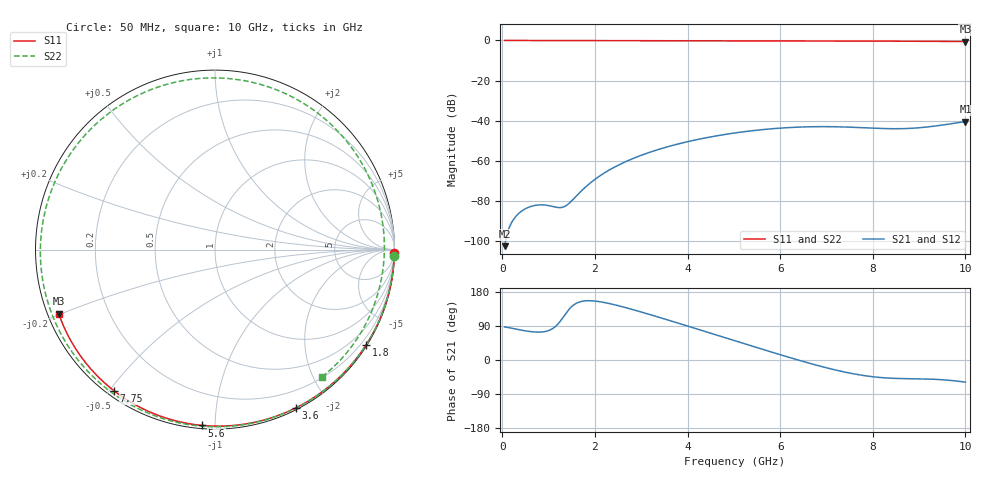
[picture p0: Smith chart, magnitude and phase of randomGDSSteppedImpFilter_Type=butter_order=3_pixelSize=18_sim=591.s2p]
! freq	dB(S11)	phase(S11)	dB(S12)	phase(S12)
!  dB(S21)	phase(S21)	dB(S22)	phase(S22)
!S-par simulation data
#  GHz  S  DB  R 50
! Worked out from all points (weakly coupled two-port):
!   200 points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, 50 MHz to 10 GHz, reference 50 ohm
!   highest |S21| = -40.41 dB at 10 GHz (marker M1); lowest = -102.5 dB at 50 MHz (marker M2)
!   lowest |S11| = -0.5 dB at 10 GHz (marker M3), VSWR 32.86, Z = 1.58 - j9.83 ohm
!   |S11| at or under -10 dB: nowhere
!   |S22| runs from -0.7 to 0.0 dB; largest |S21 - S12| = 0
!   S11 on the Smith chart (normalised r, x): 50 MHz: open; 1.8 GHz: 0.03, -3.45; 3.6 GHz: 0.02, -1.64; 5.6 GHz: 0.02, -0.93; 7.75 GHz: 0.02, -0.51; 10 GHz: 0.03, -0.20
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0.05  -0.00 -0.9  -102.46 87.4  -102.46 87.4  -0.01 -2.1
0.7  -0.01 -12.7  -82.19 73.9  -82.19 73.9  -0.03 -29.0
1.5  -0.03 -27.0  -79.85 141.2  -79.85 141.2  -0.08 -61.1
1.75  -0.04 -31.4  -74.01 155.5  -74.01 155.5  -0.09 -70.9
1.8  -0.04 -32.3  -72.96 156.2  -72.96 156.2  -0.09 -72.9
2.15  -0.05 -38.4  -66.78 152.9  -66.78 152.9  -0.11 -86.3
2.55  -0.06 -45.3  -61.61 141.9  -61.61 141.9  -0.12 -101.4
2.95  -0.07 -52.1  -57.63 128.4  -57.63 128.4  -0.14 -116.3
3.4  -0.08 -59.6  -54.09 112.1  -54.09 112.1  -0.16 -132.9
3.6  -0.08 -62.9  -52.76 104.7  -52.76 104.7  -0.17 -140.3
4.35  -0.11 -75.0  -48.70 76.4  -48.70 76.4  -0.22 -168.2
5.05  -0.13 -85.9  -45.98 49.8  -45.98 49.8  -0.26 164.8
5.6  -0.16 -94.3  -44.45 28.9  -44.45 28.9  -0.30 142.3
6.2  -0.19 -103.2  -43.38 6.7  -43.38 6.7  -0.35 116.4
6.7  -0.22 -110.5  -42.96 -10.9  -42.96 -10.9  -0.38 93.7
7.2  -0.25 -117.7  -42.99 -26.5  -42.99 -26.5  -0.41 70.2
7.75  -0.29 -125.5  -43.42 -40.0  -43.42 -40.0  -0.44 44.2
8.35  -0.34 -134.1  -43.94 -47.8  -43.94 -47.8  -0.47 16.5
8.7  -0.38 -139.0  -43.89 -49.2  -43.89 -49.2  -0.50 1.0
9.1  -0.42 -144.7  -43.28 -49.9  -43.28 -49.9  -0.54 -15.8
9.55  -0.47 -151.2  -41.99 -52.5  -41.99 -52.5  -0.59 -33.6
10  -0.53 -157.7  -40.41 -58.4  -40.41 -58.4  -0.66 -50.1
